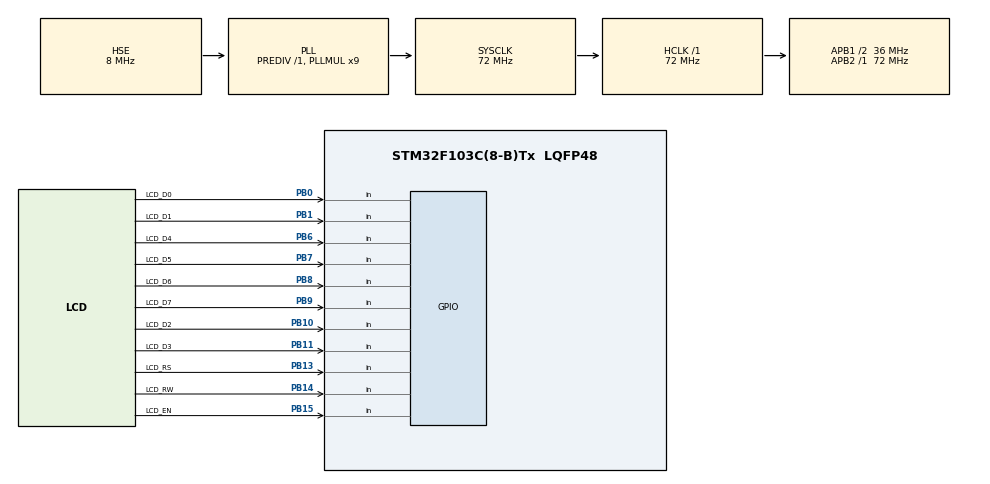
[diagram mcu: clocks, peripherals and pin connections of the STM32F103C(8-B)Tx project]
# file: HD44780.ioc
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Mcu.Family=STM32F1
RCC.PLLSourceVirtual=RCC_PLLSOURCE_HSE
PD1-OSC_OUT.Mode=HSE-External-Oscillator
PB9.GPIO_Label=LCD_D7
PB14.GPIO_Label=LCD_RW
PB11.GPIO_Label=LCD_D3
PB0.GPIO_Label=LCD_D0
PB6.GPIO_Label=LCD_D4
PD0-OSC_IN.Signal=RCC_OSC_IN
RCC.APB1CLKDivider=RCC_HCLK_DIV2
PB13.GPIO_Label=LCD_RS
PB11.Signal=GPIO_Input
PB13.Signal=GPIO_Input
PB15.Signal=GPIO_Input
RCC.SYSCLKSource=RCC_SYSCLKSOURCE_PLLCLK
ProjectManager.StackSize=0x400
PD1-OSC_OUT.Signal=RCC_OSC_OUT
PA13.Signal=SYS_JTMS-SWDIO
PB8.GPIO_Label=LCD_D6
ProjectManager.TargetToolchain=STM32CubeIDE
PB10.GPIO_Label=LCD_D2
RCC.HCLKFreq_Value=72000000
RCC.APB2TimFreq_Value=72000000
PB6.Signal=GPIO_Input
RCC.USBFreq_Value=72000000
RCC.AHBFreq_Value=72000000
PB10.Signal=GPIO_Input
PD0-OSC_IN.Mode=HSE-External-Oscillator
PB14.Signal=GPIO_Input
board=custom
RCC.PLLMUL=RCC_PLL_MUL9
RCC.APB2Freq_Value=72000000
PB15.GPIO_Label=LCD_EN
PA14.Mode=Serial_Wire
PB1.GPIO_Label=LCD_D1
PB7.Signal=GPIO_Input
PA13.Mode=Serial_Wire
Mcu.Name=STM32F103C(8-B)Tx
PB7.GPIO_Label=LCD_D5
RCC.SYSCLKFreq_VALUE=72000000
Mcu.Package=LQFP48
PB9.Signal=GPIO_Input
PB1.Signal=GPIO_Input
PA14.Signal=SYS_JTCK-SWCLK
ProjectManager.HeapSize=0x200
NVIC.PriorityGroup=NVIC_PRIORITYGROUP_4
RCC.APB1TimFreq_Value=72000000
PB8.Signal=GPIO_Input
RCC.APB1Freq_Value=36000000
PB0.Signal=GPIO_Input

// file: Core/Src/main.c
/* USER CODE BEGIN Header */
/* USER CODE END Header */
#include "main.h"

/* USER CODE BEGIN Includes */
#include <HD44780.h>
/* USER CODE END Includes */

/* USER CODE BEGIN PV */
HD44780 lcd = {
    .rs_gpio = LCD_RS_GPIO_Port,
    .rw_gpio = LCD_RW_GPIO_Port,
    .en_gpio = LCD_EN_GPIO_Port,
    .d0_gpio = LCD_D0_GPIO_Port,
    .d1_gpio = LCD_D1_GPIO_Port,
    .d2_gpio = LCD_D2_GPIO_Port,
    .d3_gpio = LCD_D3_GPIO_Port,
    .d4_gpio = LCD_D4_GPIO_Port,
    .d5_gpio = LCD_D5_GPIO_Port,
    .d6_gpio = LCD_D6_GPIO_Port,
    .d7_gpio = LCD_D7_GPIO_Port,
    .rs_pin = LCD_RS_Pin,
    .rw_pin = LCD_RW_Pin,
    .en_pin = LCD_EN_Pin,
    .d0_pin = LCD_D0_Pin,
    .d1_pin = LCD_D1_Pin,
    .d2_pin = LCD_D2_Pin,
    .d3_pin = LCD_D3_Pin,
    .d4_pin = LCD_D4_Pin,
    .d5_pin = LCD_D5_Pin,
    .d6_pin = LCD_D6_Pin,
    .d7_pin = LCD_D7_Pin,
    .interface_8_bit = false, // change if you want to test 8 bit mode
};

HD44780_Config lcd_config = {.enable_cursor = true, .enable_blink = true};

/* USER CODE END PV */

void SystemClock_Config(void);
static void MX_GPIO_Init(void);

int main(void)
{

  /* MCU Configuration--------------------------------------------------------*/

  /* Reset of all peripherals, Initializes the Flash interface and the Systick. */
  HAL_Init();

  /* Configure the system clock */
  SystemClock_Config();

  /* Initialize all configured peripherals */
  MX_GPIO_Init();
  /* USER CODE BEGIN 2 */
  HD44780_init(&lcd);

  uint8_t skull[8] = {0b00000, 0b01110, 0b10001, 0b11011, 0b10001, 0b01110, 0b01110, 0b00000};
  HD44780_create_symbol(&lcd, 0x04, false, skull);
  HD44780_put_str(&lcd, "\x04 cool skulls \x04\n");

  for (int8_t shift = -1;; shift = -shift)
  {
      HD44780_shift_display(&lcd, shift);
      HAL_Delay(800);
  }
  /* USER CODE END 2 */

  /* Infinite loop */
  while (1)
  {

    }
}

void SystemClock_Config(void)
{
  RCC_OscInitTypeDef RCC_OscInitStruct = {0};
  RCC_ClkInitTypeDef RCC_ClkInitStruct = {0};

  /** Initializes the RCC Oscillators according to the specified parameters
  * in the RCC_OscInitTypeDef structure.
  */
  RCC_OscInitStruct.OscillatorType = RCC_OSCILLATORTYPE_HSE;
  RCC_OscInitStruct.HSEState = RCC_HSE_ON;
  RCC_OscInitStruct.HSEPredivValue = RCC_HSE_PREDIV_DIV1;
  RCC_OscInitStruct.HSIState = RCC_HSI_ON;
  RCC_OscInitStruct.PLL.PLLState = RCC_PLL_ON;
  RCC_OscInitStruct.PLL.PLLSource = RCC_PLLSOURCE_HSE;
  RCC_OscInitStruct.PLL.PLLMUL = RCC_PLL_MUL9;
  if (HAL_RCC_OscConfig(&RCC_OscInitStruct) != HAL_OK)
  {
    Error_Handler();
  }
  /** Initializes the CPU, AHB and APB buses clocks
  */
  RCC_ClkInitStruct.ClockType = RCC_CLOCKTYPE_HCLK|RCC_CLOCKTYPE_SYSCLK
                              |RCC_CLOCKTYPE_PCLK1|RCC_CLOCKTYPE_PCLK2;
  RCC_ClkInitStruct.SYSCLKSource = RCC_SYSCLKSOURCE_PLLCLK;
  RCC_ClkInitStruct.AHBCLKDivider = RCC_SYSCLK_DIV1;
  RCC_ClkInitStruct.APB1CLKDivider = RCC_HCLK_DIV2;
  RCC_ClkInitStruct.APB2CLKDivider = RCC_HCLK_DIV1;

  if (HAL_RCC_ClockConfig(&RCC_ClkInitStruct, FLASH_LATENCY_2) != HAL_OK)
  {
    Error_Handler();
  }
}

static void MX_GPIO_Init(void)
{
  GPIO_InitTypeDef GPIO_InitStruct = {0};

  /* GPIO Ports Clock Enable */
  __HAL_RCC_GPIOD_CLK_ENABLE();
  __HAL_RCC_GPIOB_CLK_ENABLE();
  __HAL_RCC_GPIOA_CLK_ENABLE();

  /*Configure GPIO pins : LCD_D0_Pin LCD_D1_Pin LCD_D2_Pin LCD_D3_Pin
                           LCD_RS_Pin LCD_RW_Pin LCD_EN_Pin LCD_D4_Pin
                           LCD_D5_Pin LCD_D6_Pin LCD_D7_Pin */
  GPIO_InitStruct.Pin = LCD_D0_Pin|LCD_D1_Pin|LCD_D2_Pin|LCD_D3_Pin
                          |LCD_RS_Pin|LCD_RW_Pin|LCD_EN_Pin|LCD_D4_Pin
                          |LCD_D5_Pin|LCD_D6_Pin|LCD_D7_Pin;
  GPIO_InitStruct.Mode = GPIO_MODE_INPUT;
  GPIO_InitStruct.Pull = GPIO_NOPULL;
  HAL_GPIO_Init(GPIOB, &GPIO_InitStruct);

}

void Error_Handler(void)
{
    __disable_irq();
    while (1)
    {
    }
}

/************************ (C) COPYRIGHT STMicroelectronics *****END OF FILE****/
